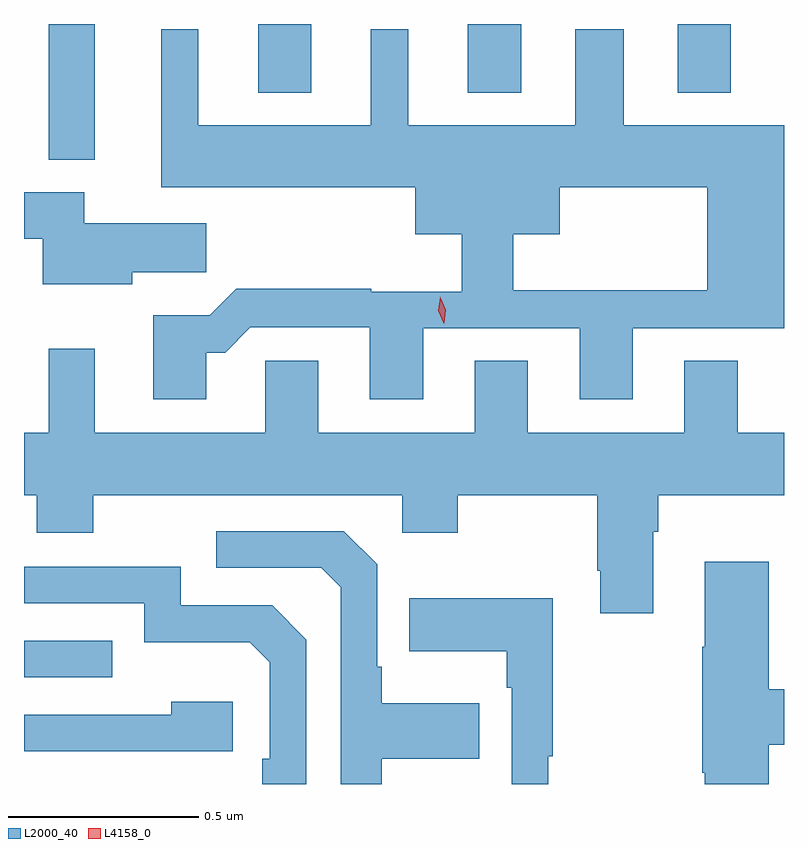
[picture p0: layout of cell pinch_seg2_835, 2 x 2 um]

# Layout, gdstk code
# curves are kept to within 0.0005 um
import gdstk
lib = gdstk.Library(unit=1e-6, precision=1e-09)
def R(c, l, rs):  # rectangles x0, y0, x1, y1
    for r in rs: c.add(gdstk.rectangle(r[:2], r[2:], *l))
def A(c, l, x, y, w, h, nx, ny, dx, dy):  # array of equal rectangles
    R(c, l, [(x+i*dx, y+j*dy, x+i*dx+w, y+j*dy+h) for i in range(nx) for j in range(ny)])
def P(c, l, *ps):  # polygons
    for p in ps: c.add(gdstk.Polygon(p, *l))
L2000_40 = (2000, 40)
L4158_0 = (4158, 0)

pinch_seg2_835 = lib.new_cell('pinch_seg2_835')
A(pinch_seg2_835, L2000_40, 635.681, 596.747, 0.14, 0.181, 3, 1, 0.552, 0)
R(pinch_seg2_835, L2000_40, [(635.065,595.209,635.297,595.305), (635.13,596.571,635.251,596.928)])
P(pinch_seg2_835, L2000_40, [(635.979,596.224),(635.979,596.231),(635.624,596.231),(635.554,596.161),(635.405,596.161),(635.405,595.941),(635.545,595.941),(635.545,596.063),(635.594,596.063),(635.661,596.13),(635.975,596.13),(635.975,595.941),(636.115,595.941),(636.115,596.127),(636.527,596.127),(636.527,595.941),(636.667,595.941),(636.667,596.127),(637.065,596.127),(637.065,596.662),(636.643,596.662),(636.643,596.914),(636.515,596.914),(636.515,596.662),(636.076,596.662),(636.076,596.914),(635.978,596.914),(635.978,596.662),(635.524,596.662),(635.524,596.914),(635.426,596.914),(635.426,596.498),(636.095,596.498),(636.095,596.375),(636.217,596.375),(636.217,596.228),(636.353,596.228),(636.353,596.375),(636.475,596.375),(636.475,596.498),(636.863,596.498),(636.863,596.228),(636.217,596.228),(636.217,596.224)],
  [(635.35,596.275),(635.545,596.275),(635.545,596.404),(635.224,596.404),(635.224,596.485),(635.065,596.485),(635.065,596.363),(635.114,596.363),(635.114,596.243),(635.35,596.243)],
  [(636.721,595.592),(636.734,595.592),(636.734,595.688),(637.065,595.688),(637.065,595.852),(636.943,595.852),(636.943,596.042),(636.803,596.042),(636.803,595.852),(636.391,595.852),(636.391,596.042),(636.251,596.042),(636.251,595.852),(635.839,595.852),(635.839,596.042),(635.7,596.042),(635.7,595.852),(635.251,595.852),(635.251,596.074),(635.13,596.074),(635.13,595.852),(635.065,595.852),(635.065,595.688),(635.099,595.688),(635.099,595.589),(635.247,595.589),(635.247,595.688),(636.06,595.688),(636.06,595.589),(636.207,595.589),(636.207,595.688),(636.574,595.688),(636.574,595.489),(636.581,595.489),(636.581,595.377),(636.721,595.377)],
  [(636.007,594.994),(636.263,594.994),(636.263,595.141),(636.007,595.141),(636.007,595.237),(635.994,595.237),(635.994,595.506),(635.907,595.593),(635.571,595.593),(635.571,595.497),(635.847,595.497),(635.898,595.446),(635.898,594.928),(636.007,594.928)],
  [(637.025,595.031),(637.065,595.031),(637.065,595.178),(637.025,595.178),(637.025,595.513),(636.857,595.513),(636.857,595.289),(636.85,595.289),(636.85,594.958),(636.857,594.958),(636.857,594.928),(637.025,594.928)],
  [(635.808,595.308),(635.718,595.398),(635.478,595.398),(635.478,595.5),(635.065,595.5),(635.065,595.404),(635.382,595.404),(635.382,595.301),(635.659,595.301),(635.712,595.248),(635.712,594.994),(635.692,594.994),(635.692,594.928),(635.808,594.928)],
  [(636.445,595.001),(636.457,595.001),(636.457,595.417),(636.079,595.417),(636.079,595.277),(636.336,595.277),(636.336,595.181),(636.348,595.181),(636.348,594.928),(636.445,594.928)],
  [(635.614,595.144),(635.453,595.144),(635.453,595.11),(635.065,595.11),(635.065,595.014),(635.614,595.014)])
P(pinch_seg2_835, L4158_0, [(636.17,596.14),(636.17,596.14),(636.155,596.173),(636.16,596.209),(636.16,596.21),(636.16,596.209),(636.175,596.176),(636.171,596.14)])

lib.write_gds('pinch_seg2_835.gds')
